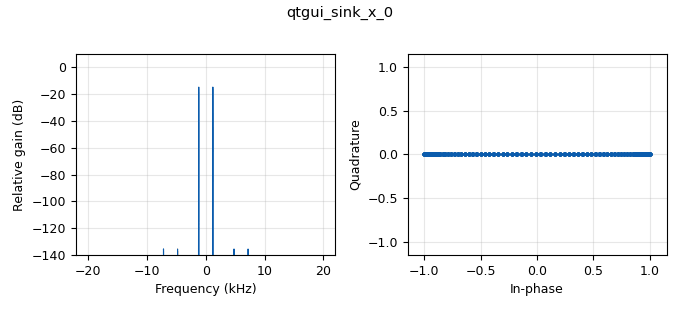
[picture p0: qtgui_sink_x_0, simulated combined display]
<?xml version='1.0' encoding='utf-8'?>
<?grc format='1' created='3.7.11'?>
<flow_graph>
<block>
<key>options</key>
<param><key>id</key><value>top_block</value></param>
<param><key>generate_options</key><value>qt_gui</value></param>
</block>
<block>
<key>variable</key>
<param><key>id</key><value>fft_size</value></param>
<param><key>value</key><value>samp_rate/10</value></param>
</block>
<block>
<key>variable</key>
<param><key>id</key><value>freq</value></param>
<param><key>value</key><value>1200</value></param>
</block>
<block>
<key>variable</key>
<param><key>id</key><value>samp_rate</value></param>
<param><key>value</key><value>44100</value></param>
</block>
<block>
<key>analog_sig_source_x</key>
<param><key>id</key><value>analog_sig_source_x_0</value></param>
<param><key>amp</key><value>1</value></param>
<param><key>freq</key><value>freq</value></param>
<param><key>offset</key><value>0</value></param>
<param><key>type</key><value>float</value></param>
<param><key>samp_rate</key><value>samp_rate</value></param>
<param><key>waveform</key><value>analog.GR_COS_WAVE</value></param>
</block>
<block>
<key>blocks_complex_to_mag</key>
<param><key>id</key><value>blocks_complex_to_mag_0</value></param>
<param><key>vlen</key><value>fft_size</value></param>
</block>
<block>
<key>blocks_file_sink</key>
<param><key>id</key><value>blocks_file_sink_0</value></param>
<param><key>file</key><value>/home/me/git/ft_pr/Underwater_Experiment/experimentCode/gnuradio_test_aug13/test_signal_raw.dat</value></param>
<param><key>type</key><value>float</value></param>
<param><key>unbuffered</key><value>True</value></param>
<param><key>vlen</key><value>fft_size</value></param>
</block>
<block>
<key>blocks_float_to_complex</key>
<param><key>id</key><value>blocks_float_to_complex_0</value></param>
</block>
<block>
<key>blocks_stream_to_vector</key>
<param><key>id</key><value>blocks_stream_to_vector_0_0</value></param>
<param><key>type</key><value>complex</value></param>
<param><key>num_items</key><value>fft_size</value></param>
</block>
<block>
<key>blocks_throttle</key>
<param><key>id</key><value>blocks_throttle_0_0</value></param>
<param><key>samples_per_second</key><value>samp_rate</value></param>
<param><key>type</key><value>float</value></param>
</block>
<block>
<key>fft_vxx</key>
<param><key>id</key><value>fft_vxx_0_0</value></param>
<param><key>fft_size</key><value>fft_size</value></param>
<param><key>forward</key><value>True</value></param>
<param><key>type</key><value>complex</value></param>
<param><key>shift</key><value>True</value></param>
<param><key>window</key><value>window.blackmanharris(fft_size)</value></param>
</block>
<block>
<key>qtgui_sink_x</key>
<param><key>id</key><value>qtgui_sink_x_0</value></param>
<param><key>bw</key><value>samp_rate</value></param>
<param><key>fc</key><value>0</value></param>
<param><key>freqchangevar</key><value>None</value></param>
<param><key>fftsize</key><value>fft_size</value></param>
<param><key>plottime</key><value>False</value></param>
<param><key>showports</key><value>True</value></param>
<param><key>showrf</key><value>True</value></param>
<param><key>type</key><value>complex</value></param>
<param><key>wintype</key><value>firdes.WIN_BLACKMAN_hARRIS</value></param>
</block>
<connection><source_block_id>analog_sig_source_x_0</source_block_id><sink_block_id>blocks_throttle_0_0</sink_block_id><source_key>0</source_key><sink_key>0</sink_key></connection>
<connection><source_block_id>blocks_complex_to_mag_0</source_block_id><sink_block_id>blocks_file_sink_0</sink_block_id><source_key>0</source_key><sink_key>0</sink_key></connection>
<connection><source_block_id>blocks_float_to_complex_0</source_block_id><sink_block_id>blocks_stream_to_vector_0_0</sink_block_id><source_key>0</source_key><sink_key>0</sink_key></connection>
<connection><source_block_id>blocks_float_to_complex_0</source_block_id><sink_block_id>qtgui_sink_x_0</sink_block_id><source_key>0</source_key><sink_key>0</sink_key></connection>
<connection><source_block_id>blocks_stream_to_vector_0_0</source_block_id><sink_block_id>fft_vxx_0_0</sink_block_id><source_key>0</source_key><sink_key>0</sink_key></connection>
<connection><source_block_id>blocks_throttle_0_0</source_block_id><sink_block_id>blocks_float_to_complex_0</sink_block_id><source_key>0</source_key><sink_key>0</sink_key></connection>
<connection><source_block_id>fft_vxx_0_0</source_block_id><sink_block_id>blocks_complex_to_mag_0</sink_block_id><source_key>0</source_key><sink_key>0</sink_key></connection>
</flow_graph>
